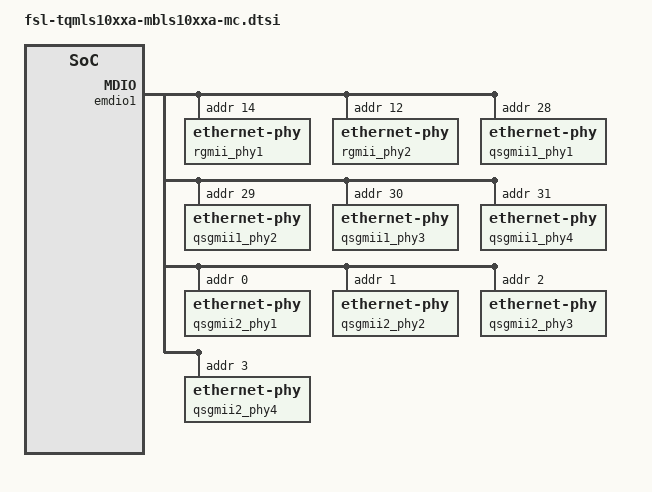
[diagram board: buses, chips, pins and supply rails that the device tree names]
// SPDX-License-Identifier: (GPL-2.0+ OR MIT)
/*
 * Device Tree Include file for MBLS10xxA from TQ (MC related sections)
 *
 * Copyright 2019 TQ-Systems GmbH
 */

#include <dt-bindings/net/ti-dp83867.h>

&emdio1 {
	rgmii_phy1: ethernet-phy@0e {
		reg = <0x0e>;
		ti,rx-internal-delay = <DP83867_RGMIIDCTL_1_50_NS>;
		ti,tx-internal-delay = <DP83867_RGMIIDCTL_1_50_NS>;
		ti,fifo-depth = <DP83867_PHYCR_FIFO_DEPTH_8_B_NIB>;
	};

	rgmii_phy2: ethernet-phy@0c {
		reg = <0x0c>;
		ti,rx-internal-delay = <DP83867_RGMIIDCTL_1_50_NS>;
		ti,tx-internal-delay = <DP83867_RGMIIDCTL_1_50_NS>;
		ti,fifo-depth = <DP83867_PHYCR_FIFO_DEPTH_8_B_NIB>;
	};

	qsgmii1_phy1: ethernet-phy@1c {
		reg = <0x1c>;
	};

	qsgmii1_phy2: ethernet-phy@1d {
		reg = <0x1d>;
	};

	qsgmii1_phy3: ethernet-phy@1e {
		reg = <0x1e>;
	};

	qsgmii1_phy4: ethernet-phy@1f {
		reg = <0x1f>;
	};

	qsgmii2_phy1: ethernet-phy@00 {
		reg = <0x00>;
	};

	qsgmii2_phy2: ethernet-phy@01 {
		reg = <0x01>;
	};

	qsgmii2_phy3: ethernet-phy@02 {
		reg = <0x02>;
	};

	qsgmii2_phy4: ethernet-phy@03 {
		reg = <0x03>;
	};
};

&dpmac1 {
	phy-connection-type = "sgmii";
};

&dpmac2 {
	phy-connection-type = "sgmii";
};

&dpmac3 {
	phy-connection-type = "sgmii";
};

&dpmac4 {
	phy-connection-type = "sgmii";
};

&dpmac5 {
	phy-connection-type = "sgmii";
};

&dpmac6 {
	phy-connection-type = "sgmii";
};

&dpmac7 {
	phy-connection-type = "sgmii";
};

&dpmac8 {
	phy-connection-type = "sgmii";
};

&dpmac9 {
	phy-connection-type = "sgmii";
};

&dpmac10 {
	phy-connection-type = "sgmii";
};
